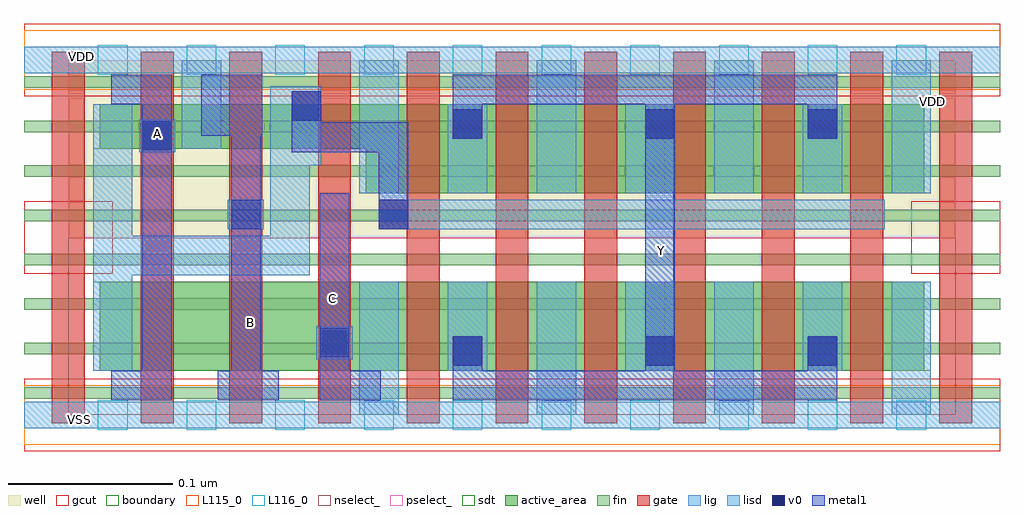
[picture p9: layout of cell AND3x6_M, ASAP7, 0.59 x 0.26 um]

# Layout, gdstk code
import gdstk
lib = gdstk.Library(unit=1e-6, precision=2.5e-10)
def R(c, l, rs):  # rectangles x0, y0, x1, y1
    for r in rs: c.add(gdstk.rectangle(r[:2], r[2:], *l))
def A(c, l, x, y, w, h, nx, ny, dx, dy):  # array of equal rectangles
    R(c, l, [(x+i*dx, y+j*dy, x+i*dx+w, y+j*dy+h) for i in range(nx) for j in range(ny)])
def P(c, l, *ps):  # polygons
    for p in ps: c.add(gdstk.Polygon(p, *l))
well = (1, 0)
fin = (2, 0)
gate = (7, 0)
gcut = (10, 0)
active_area = (11, 0)
nselect_ = (12, 0)
pselect_ = (13, 0)
lig = (16, 0)
lisd = (17, 0)
v0 = (18, 0)
metal1 = (19, 0)
sdt = (88, 0)
boundary = (100, 0)
L115_0 = (115, 0)
L116_0 = (116, 0)

and3x6_m = lib.new_cell('AND3x6_M')
R(and3x6_m, well, [(0,0.108,0.54,0.216)])
A(and3x6_m, fin, -0.027, 0.01, 0.594, 0.007, 1, 8, 0, 0.027)
A(and3x6_m, gate, -0.01, -0.005, 0.02, 0.226, 11, 1, 0.054, 0)
R(and3x6_m, gcut, [(-0.027,-0.022,0.567,0.022), (-0.027,0.086,0.027,0.13), (0.513,0.086,0.567,0.13), (-0.027,0.194,0.567,0.238)])
R(and3x6_m, active_area, [(0.019,0.027,0.521,0.081)])
P(and3x6_m, active_area, [(0.521,0.189),(0.019,0.189),(0.019,0.162),(0.181,0.162),(0.181,0.135),(0.521,0.135)])
R(and3x6_m, nselect_, [(0,0,0.54,0.108)])
R(and3x6_m, pselect_, [(0,0.108,0.54,0.216)])
R(and3x6_m, lig, [(-0.027,-0.008,0.567,0.008), (0.151,0.034,0.173,0.054), (0.097,0.113,0.119,0.131), (0.189,0.113,0.497,0.131), (0.043,0.16,0.065,0.18), (-0.027,0.208,0.567,0.224)])
A(and3x6_m, lisd, 0.285, 0, 0.024, 0.081, 3, 2, 0.108, 0.135)
R(and3x6_m, lisd, [(0.177,0,0.201,0.081), (0.285,0,0.309,0.081), (0.231,0.027,0.255,0.081), (0.339,0.027,0.369,0.081), (0.447,0.027,0.471,0.081), (0.177,0.135,0.201,0.216), (0.231,0.135,0.255,0.189), (0.285,0.135,0.309,0.216), (0.339,0.135,0.369,0.189), (0.447,0.135,0.471,0.189), (0.069,0.162,0.093,0.216)])
P(and3x6_m, lisd, [(0.154,0.2),(0.123,0.2),(0.123,0.109),(0.039,0.109),(0.039,0.189),(0.015,0.189),(0.015,0.027),(0.039,0.027),(0.039,0.085),(0.147,0.085),(0.147,0.152),(0.154,0.152)])
R(and3x6_m, v0, [(0.234,0.03,0.252,0.048), (0.351,0.03,0.369,0.048), (0.45,0.03,0.468,0.048), (0.153,0.035,0.171,0.053), (0.099,0.113,0.117,0.131), (0.189,0.113,0.207,0.131), (0.045,0.161,0.063,0.179), (0.234,0.168,0.252,0.186), (0.351,0.168,0.369,0.186), (0.45,0.168,0.468,0.186), (0.136,0.179,0.154,0.197)])
R(and3x6_m, metal1, [(0.026,0.009,0.063,0.027), (0.045,0.009,0.063,0.207), (0.091,0.009,0.128,0.027), (0.099,0.009,0.117,0.207), (0.153,0.009,0.19,0.027), (0.153,0.009,0.171,0.135), (0.234,0.009,0.252,0.048), (0.234,0.009,0.468,0.027), (0.351,0.009,0.369,0.207), (0.45,0.009,0.468,0.048), (0.189,0.113,0.207,0.178), (0.136,0.16,0.207,0.178), (0.136,0.16,0.154,0.197), (0.234,0.168,0.252,0.207), (0.45,0.168,0.468,0.207), (0.081,0.17,0.118,0.207), (0.026,0.189,0.063,0.207), (0.234,0.189,0.468,0.207)])
A(and3x6_m, sdt, 0.177, 0.027, 0.024, 0.054, 7, 2, 0.054, 0.108)
A(and3x6_m, sdt, 0.015, 0.162, 0.024, 0.027, 3, 1, 0.054, 0)
R(and3x6_m, sdt, [(0.015,0.027,0.039,0.081)])
R(and3x6_m, boundary, [(0,0,0.54,0.216)])
R(and3x6_m, L115_0, [(-0.027,-0.018,0.567,0.018), (-0.027,0.198,0.567,0.234)])
A(and3x6_m, L116_0, 0.018, -0.009, 0.018, 0.018, 10, 2, 0.054, 0.216)
and3x6_m.add(gdstk.Label('B', (0.111,0.056), layer=19, texttype=251))
and3x6_m.add(gdstk.Label('C', (0.161,0.071), layer=19, texttype=251))
and3x6_m.add(gdstk.Label('A', (0.054,0.171), layer=19, texttype=251))
and3x6_m.add(gdstk.Label('Y', (0.361,0.1), layer=19, texttype=251))
and3x6_m.add(gdstk.Label('VDD', (0.526,0.191), layer=1, texttype=251))
and3x6_m.add(gdstk.Label('VSS', (0.598,0.19), layer=3, texttype=251))
and3x6_m.add(gdstk.Label('VSS', (0.007,-0.003), layer=115, texttype=251))
and3x6_m.add(gdstk.Label('VDD', (0.008,0.218), layer=115, texttype=251))

lib.write_gds('AND3x6_M.gds')
